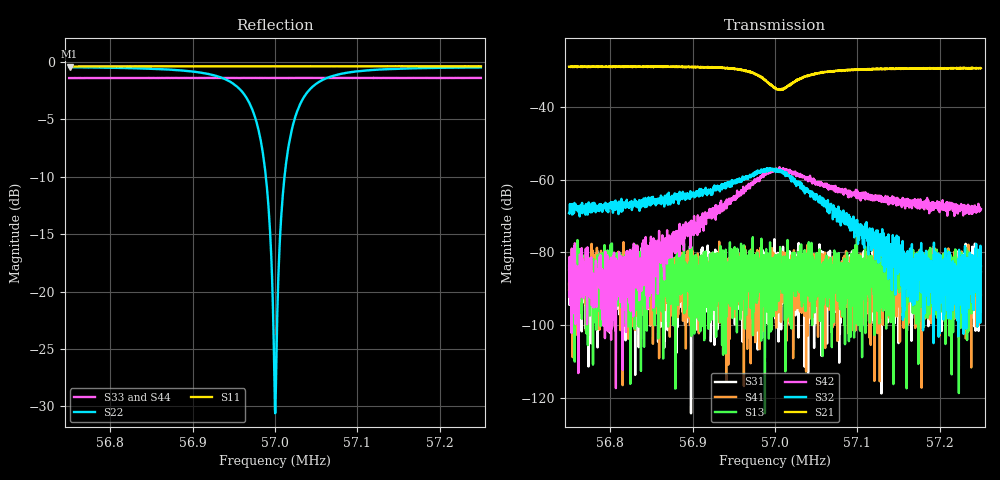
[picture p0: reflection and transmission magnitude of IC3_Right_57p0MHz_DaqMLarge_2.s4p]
#  HZ  S  DB  R  50.00
! Rohde & Schwarz Vector Network Analyzer
! Rohde-Schwarz,ZNB8-4Port,1311601044102961,2.82
! Created: UTC 2/12/2019, 2:29:56 PM
! freq[Hz]  db:S11  ang:S11  db:S12  ang:S12  db:S13  ang:S13  db:S14  ang:S14
!  db:S21  ang:S21  db:S22  ang:S22  db:S23  ang:S23  db:S24  ang:S24
!  db:S31  ang:S31  db:S32  ang:S32  db:S33  ang:S33  db:S34  ang:S34
!  db:S41  ang:S41  db:S42  ang:S42  db:S43  ang:S43  db:S44  ang:S44
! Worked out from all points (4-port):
!   2001 points, 56.75 MHz to 57.25 MHz, reference 50 ohm
!   strongest paths, dB at 56.75 MHz, 56.875 MHz, 57 MHz, 57.125 MHz, 57.25 MHz:
!     S21: -29.0, -29.0, -34.9, -29.7, -29.4
!     S32: -69.2, -64.5, -57.5, -75.7, -83.6
!     S42: -84.7, -79.4, -57.4, -65.4, -68.1
!     S13: -83.6, -82.1, -93.4, -83.1, -83.8
!     S41: -90.2, -81.7, -87.9, -90.5, -91.8
!     S31: -88.7, -85.7, -95.3, -80.2, -85.4
!   lowest |S11| = -0.4 dB at 56.7505 MHz (marker M1), VSWR 43.65, Z = 2.94 + j62.5 ohm
!   |S11| at or under -10 dB: nowhere
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5.675e7  -0.40 77.3  -29.12 62.0  -83.61 33.6  -88.88 48.0
         -29.01 62.1  -0.45 -132.9  -67.25 -156.5  -84.65 129.8
         -88.67 149.8  -69.20 -146.9  -1.40 13.3  -88.21 -0.3
         -90.20 -12.3  -84.69 -102.9  -92.64 -126.4  -1.40 19.9
5.67505e7  -0.40 77.3  -28.94 61.6  -85.02 -6.7  -86.13 112.9
           -29.04 62.6  -0.45 -132.9  -70.53 -141.3  -85.19 -116.5
           -81.49 131.0  -69.31 -153.2  -1.40 13.3  -85.02 -150.5
           -88.16 -78.4  -81.24 -158.9  -81.64 -105.7  -1.40 19.8
5.696325e7  -0.38 73.8  -30.09 37.6  -87.30 -178.0  -88.01 -90.2
            -30.09 37.4  -2.88 178.8  -59.94 170.2  -61.92 -17.9
            -88.72 -42.7  -59.76 168.5  -1.39 10.7  -91.98 -121.9
            -78.73 -168.4  -62.45 -12.4  -89.34 88.8  -1.39 17.2
5.6988e7  -0.37 73.3  -32.61 31.8  -82.18 105.0  -85.40 -50.8
          -32.61 32.0  -9.40 146.3  -57.56 139.4  -58.22 -44.9
          -87.82 -33.4  -57.30 140.5  -1.39 10.4  -90.86 -11.1
          -86.57 153.8  -58.45 -44.8  -89.33 -106.7  -1.39 17.0
5.700025e7  -0.37 73.1  -34.95 41.8  -90.43 -99.9  -78.27 118.1
            -34.98 41.6  -30.59 39.3  -57.47 117.1  -57.77 -63.8
            -87.63 -47.5  -57.25 118.3  -1.39 10.2  -91.53 90.6
            -94.90 151.6  -57.06 -65.9  -83.81 124.1  -1.39 16.8
5.7037e7  -0.37 72.5  -31.58 70.7  -96.11 161.1  -84.77 98.3
          -31.64 70.4  -2.86 -100.1  -63.15 70.3  -59.34 -116.0
          -86.13 36.5  -62.70 72.9  -1.38 9.7  -86.95 -107.7
          -86.39 114.5  -60.01 -120.6  -83.94 -43.6  -1.40 16.4
5.725e7  -0.37 69.0  -29.37 50.0  -83.84 9.9  -91.44 147.9
         -29.42 50.2  -0.47 -149.0  -87.26 173.4  -68.27 -160.6
         -85.43 13.7  -83.62 147.3  -1.38 7.1  -81.04 170.5
         -91.77 10.5  -68.12 -164.8  -82.22 110.9  -1.39 13.7
